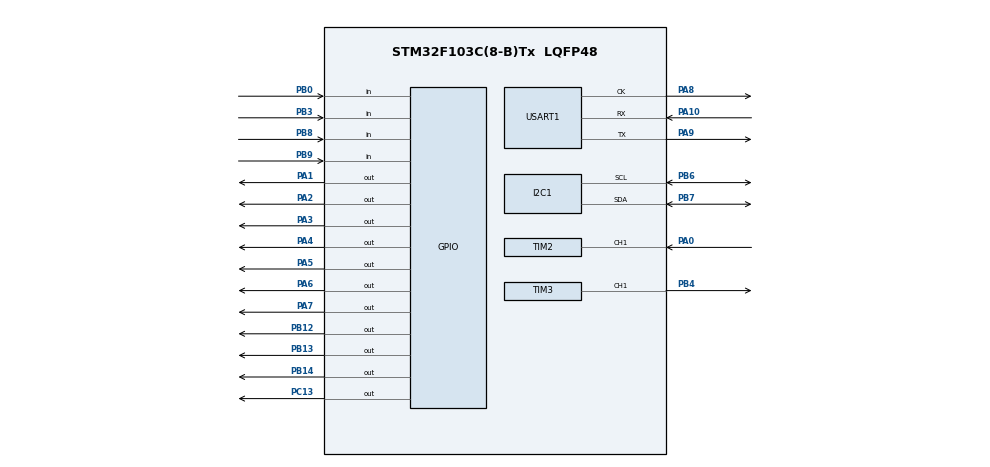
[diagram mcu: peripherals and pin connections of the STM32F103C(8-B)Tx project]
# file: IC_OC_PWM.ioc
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Mcu.Family=STM32F1
Mcu.Name=STM32F103C(8-B)Tx
Mcu.Package=LQFP48
NVIC.PriorityGroup=NVIC_PRIORITYGROUP_4
NVIC.TIM2_IRQn=true\:0\:0\:false\:false\:true\:true\:true\:true
NVIC.TIM3_IRQn=true\:0\:0\:false\:false\:true\:true\:true\:true
PA0-WKUP.Signal=S_TIM2_CH1_ETR
PA1.GPIO_PuPd=GPIO_PULLDOWN
PA1.Signal=GPIO_Output
PA10.Mode=Synchronous
PA10.Signal=USART1_RX
PA13.Mode=Serial_Wire
PA13.Signal=SYS_JTMS-SWDIO
PA14.Mode=Serial_Wire
PA14.Signal=SYS_JTCK-SWCLK
PA2.GPIO_PuPd=GPIO_PULLDOWN
PA2.Signal=GPIO_Output
PA3.GPIO_PuPd=GPIO_PULLDOWN
PA3.Signal=GPIO_Output
PA4.GPIO_PuPd=GPIO_PULLDOWN
PA4.Signal=GPIO_Output
PA5.GPIO_PuPd=GPIO_PULLDOWN
PA5.Signal=GPIO_Output
PA6.GPIO_PuPd=GPIO_PULLDOWN
PA6.Signal=GPIO_Output
PA7.GPIO_PuPd=GPIO_PULLDOWN
PA7.Signal=GPIO_Output
PA8.Mode=Synchronous
PA8.Signal=USART1_CK
PA9.Mode=Synchronous
PA9.Signal=USART1_TX
PB0.GPIO_PuPd=GPIO_PULLDOWN
PB0.Signal=GPIO_Input
PB12.GPIO_PuPd=GPIO_PULLDOWN
PB12.Signal=GPIO_Output
PB13.Signal=GPIO_Output
PB14.Signal=GPIO_Output
PB3.GPIO_PuPd=GPIO_PULLDOWN
PB3.Signal=GPIO_Input
PB4.Signal=S_TIM3_CH1
PB6.Mode=I2C
PB6.Signal=I2C1_SCL
PB7.Mode=I2C
PB7.Signal=I2C1_SDA
PB8.Signal=GPIO_Input
PB9.Signal=GPIO_Input
PC13-TAMPER-RTC.Signal=GPIO_Output
PD0-OSC_IN.Mode=HSE-External-Oscillator
PD0-OSC_IN.Signal=RCC_OSC_IN
PD1-OSC_OUT.Mode=HSE-External-Oscillator
PD1-OSC_OUT.Signal=RCC_OSC_OUT
ProjectManager.HeapSize=0x200
ProjectManager.StackSize=0x400
ProjectManager.TargetToolchain=STM32CubeIDE
RCC.APB1Freq_Value=8000000
RCC.APB2Freq_Value=8000000
SH.S_TIM2_CH1_ETR.0=TIM2_CH1,Input_Capture1_from_TI1
SH.S_TIM3_CH1.0=TIM3_CH1,Output Compare1 CH1
TIM2.AutoReloadPreload=TIM_AUTORELOAD_PRELOAD_ENABLE
TIM2.Channel-Input_Capture1_from_TI1=TIM_CHANNEL_1
TIM2.Period=999
TIM2.Prescaler=8000
TIM3.AutoReloadPreload=TIM_AUTORELOAD_PRELOAD_ENABLE
TIM3.Channel-Output\ Compare1\ CH1=TIM_CHANNEL_1
TIM3.Period=1000
TIM3.Prescaler=8000
USART1.VirtualMode=VM_SYNC
VP_TIM2_VS_ClockSourceINT.Mode=Internal
VP_TIM3_VS_ClockSourceINT.Mode=Internal
board=custom

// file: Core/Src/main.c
/* USER CODE BEGIN Header */
/**
  ******************************************************************************
  * @file           : main.c
  * @brief          : Main program body
  ******************************************************************************
  * @attention
  *
  * Copyright (c) 2024 STMicroelectronics.
  * All rights reserved.
  *
  * This software is licensed under terms that can be found in the LICENSE file
  * in the root directory of this software component.
  * If no LICENSE file comes with this software, it is provided AS-IS.
  *
  ******************************************************************************
  */
/* USER CODE END Header */
#include "main.h"

/* USER CODE BEGIN PTD */
TIM_HandleTypeDef htim2;
TIM_HandleTypeDef htim3;
/* USER CODE END PTD */

I2C_HandleTypeDef hi2c1;

TIM_HandleTypeDef htim2;
TIM_HandleTypeDef htim3;

USART_HandleTypeDef husart1;

void SystemClock_Config(void);
static void MX_GPIO_Init(void);
static void MX_TIM2_Init(void);
static void MX_TIM3_Init(void);
static void MX_USART1_Init(void);
static void MX_I2C1_Init(void);
/* USER CODE BEGIN PFP */
uint16_t u16_Capturel;
uint16_t Set_time = 2500;
uint8_t time2;
/* USER CODE END PFP */

/* USER CODE BEGIN 0 */
void Print(uint8_t Val)
{
	if(Val == 0)
	{
		HAL_GPIO_WritePin(GPIOA, GPIO_PIN_1, GPIO_PIN_SET);
		HAL_GPIO_WritePin(GPIOA, GPIO_PIN_2, GPIO_PIN_SET);
		HAL_GPIO_WritePin(GPIOA, GPIO_PIN_3, GPIO_PIN_SET);
		HAL_GPIO_WritePin(GPIOA, GPIO_PIN_4, GPIO_PIN_SET);
		HAL_GPIO_WritePin(GPIOA, GPIO_PIN_5, GPIO_PIN_SET);
		HAL_GPIO_WritePin(GPIOA, GPIO_PIN_6, GPIO_PIN_SET);
		HAL_GPIO_WritePin(GPIOA, GPIO_PIN_7, GPIO_PIN_RESET);
	}
  else if(Val == 1)
  {
		HAL_GPIO_WritePin(GPIOA, GPIO_PIN_1, GPIO_PIN_RESET);
		HAL_GPIO_WritePin(GPIOA, GPIO_PIN_2, GPIO_PIN_SET);
		HAL_GPIO_WritePin(GPIOA, GPIO_PIN_3, GPIO_PIN_SET);
		HAL_GPIO_WritePin(GPIOA, GPIO_PIN_4, GPIO_PIN_RESET);
		HAL_GPIO_WritePin(GPIOA, GPIO_PIN_5, GPIO_PIN_RESET);
		HAL_GPIO_WritePin(GPIOA, GPIO_PIN_6, GPIO_PIN_RESET);
		HAL_GPIO_WritePin(GPIOA, GPIO_PIN_7, GPIO_PIN_RESET);
  }
  else if(Val == 2)
  {
		HAL_GPIO_WritePin(GPIOA, GPIO_PIN_1, GPIO_PIN_SET);
		HAL_GPIO_WritePin(GPIOA, GPIO_PIN_2, GPIO_PIN_SET);
		HAL_GPIO_WritePin(GPIOA, GPIO_PIN_3, GPIO_PIN_RESET);
		HAL_GPIO_WritePin(GPIOA, GPIO_PIN_4, GPIO_PIN_SET);
		HAL_GPIO_WritePin(GPIOA, GPIO_PIN_5, GPIO_PIN_SET);
		HAL_GPIO_WritePin(GPIOA, GPIO_PIN_6, GPIO_PIN_RESET);
		HAL_GPIO_WritePin(GPIOA, GPIO_PIN_7, GPIO_PIN_SET);
  }
  else if(Val == 3)
  {
		HAL_GPIO_WritePin(GPIOA, GPIO_PIN_1, GPIO_PIN_SET);
		HAL_GPIO_WritePin(GPIOA, GPIO_PIN_2, GPIO_PIN_SET);
		HAL_GPIO_WritePin(GPIOA, GPIO_PIN_3, GPIO_PIN_SET);
		HAL_GPIO_WritePin(GPIOA, GPIO_PIN_4, GPIO_PIN_SET);
		HAL_GPIO_WritePin(GPIOA, GPIO_PIN_5, GPIO_PIN_RESET);
		HAL_GPIO_WritePin(GPIOA, GPIO_PIN_6, GPIO_PIN_RESET);
		HAL_GPIO_WritePin(GPIOA, GPIO_PIN_7, GPIO_PIN_SET);
  }
  else if(Val == 4)
  {
		HAL_GPIO_WritePin(GPIOA, GPIO_PIN_1, GPIO_PIN_RESET);
		HAL_GPIO_WritePin(GPIOA, GPIO_PIN_2, GPIO_PIN_SET);
		HAL_GPIO_WritePin(GPIOA, GPIO_PIN_3, GPIO_PIN_SET);
		HAL_GPIO_WritePin(GPIOA, GPIO_PIN_4, GPIO_PIN_RESET);
		HAL_GPIO_WritePin(GPIOA, GPIO_PIN_5, GPIO_PIN_RESET);
		HAL_GPIO_WritePin(GPIOA, GPIO_PIN_6, GPIO_PIN_SET);
		HAL_GPIO_WritePin(GPIOA, GPIO_PIN_7, GPIO_PIN_SET);
  }
  else if(Val == 5)
  {
		HAL_GPIO_WritePin(GPIOA, GPIO_PIN_1, GPIO_PIN_SET);
		HAL_GPIO_WritePin(GPIOA, GPIO_PIN_2, GPIO_PIN_RESET);
		HAL_GPIO_WritePin(GPIOA, GPIO_PIN_3, GPIO_PIN_SET);
		HAL_GPIO_WritePin(GPIOA, GPIO_PIN_4, GPIO_PIN_SET);
		HAL_GPIO_WritePin(GPIOA, GPIO_PIN_5, GPIO_PIN_RESET);
		HAL_GPIO_WritePin(GPIOA, GPIO_PIN_6, GPIO_PIN_SET);
		HAL_GPIO_WritePin(GPIOA, GPIO_PIN_7, GPIO_PIN_SET);
  }
  else if(Val == 6)
  {
		HAL_GPIO_WritePin(GPIOA, GPIO_PIN_1, GPIO_PIN_SET);
		HAL_GPIO_WritePin(GPIOA, GPIO_PIN_2, GPIO_PIN_RESET);
		HAL_GPIO_WritePin(GPIOA, GPIO_PIN_3, GPIO_PIN_SET);
		HAL_GPIO_WritePin(GPIOA, GPIO_PIN_4, GPIO_PIN_SET);
		HAL_GPIO_WritePin(GPIOA, GPIO_PIN_5, GPIO_PIN_SET);
		HAL_GPIO_WritePin(GPIOA, GPIO_PIN_6, GPIO_PIN_SET);
		HAL_GPIO_WritePin(GPIOA, GPIO_PIN_7, GPIO_PIN_SET);
  }
  else if(Val == 7)
  {
		HAL_GPIO_WritePin(GPIOA, GPIO_PIN_1, GPIO_PIN_SET);
		HAL_GPIO_WritePin(GPIOA, GPIO_PIN_2, GPIO_PIN_SET);
		HAL_GPIO_WritePin(GPIOA, GPIO_PIN_3, GPIO_PIN_SET);
		HAL_GPIO_WritePin(GPIOA, GPIO_PIN_4, GPIO_PIN_RESET);
		HAL_GPIO_WritePin(GPIOA, GPIO_PIN_5, GPIO_PIN_RESET);
		HAL_GPIO_WritePin(GPIOA, GPIO_PIN_6, GPIO_PIN_RESET);
		HAL_GPIO_WritePin(GPIOA, GPIO_PIN_7, GPIO_PIN_RESET);
  }
  else if(Val == 8)
  {
		HAL_GPIO_WritePin(GPIOA, GPIO_PIN_1, GPIO_PIN_SET);
		HAL_GPIO_WritePin(GPIOA, GPIO_PIN_2, GPIO_PIN_SET);
		HAL_GPIO_WritePin(GPIOA, GPIO_PIN_3, GPIO_PIN_SET);
		HAL_GPIO_WritePin(GPIOA, GPIO_PIN_4, GPIO_PIN_SET);
		HAL_GPIO_WritePin(GPIOA, GPIO_PIN_5, GPIO_PIN_SET);
		HAL_GPIO_WritePin(GPIOA, GPIO_PIN_6, GPIO_PIN_SET);
		HAL_GPIO_WritePin(GPIOA, GPIO_PIN_7, GPIO_PIN_SET);
  }
  else if(Val == 9)
  {
		HAL_GPIO_WritePin(GPIOA, GPIO_PIN_1, GPIO_PIN_SET);
		HAL_GPIO_WritePin(GPIOA, GPIO_PIN_2, GPIO_PIN_SET);
		HAL_GPIO_WritePin(GPIOA, GPIO_PIN_3, GPIO_PIN_SET);
		HAL_GPIO_WritePin(GPIOA, GPIO_PIN_4, GPIO_PIN_SET);
		HAL_GPIO_WritePin(GPIOA, GPIO_PIN_5, GPIO_PIN_RESET);
		HAL_GPIO_WritePin(GPIOA, GPIO_PIN_6, GPIO_PIN_SET);
		HAL_GPIO_WritePin(GPIOA, GPIO_PIN_7, GPIO_PIN_SET);
  }
}
void HAL_TIM_IC_CaptureCallback(TIM_HandleTypeDef *htim)
{
  /* Prevent unused argument(s) compilation warning */
  UNUSED(htim);
if(htim->Instance == TIM2)
{
	HAL_GPIO_WritePin(GPIOC, GPIO_PIN_13, GPIO_PIN_RESET);
	u16_Capturel = HAL_TIM_ReadCapturedValue(&htim2, TIM_CHANNEL_1);
	__HAL_TIM_SET_COUNTER(&htim2,0);
	if (u16_Capturel < 1000) {
	    time2 = 1;  // Hiển thị 1 thay vì 0
	} else {
	    time2 = u16_Capturel / 1000;
	};
	u16_Capturel = 0;
	Print(time2);
}
  /* NOTE : This function should not be modified, when the callback is needed,
            the HAL_TIM_IC_CaptureCallback could be implemented in the user file
   */
}
void HAL_TIM_OC_DelayElapsedCallback(TIM_HandleTypeDef *htim)
{
//    if (htim->Instance == TIM3)
//    {
//    	HAL_GPIO_TogglePin(GPIOB, GPIO_PIN_4);
//    }
}

/* USER CODE END 0 */

int main(void)
{

  /* MCU Configuration--------------------------------------------------------*/

  /* Reset of all peripherals, Initializes the Flash interface and the Systick. */
  HAL_Init();

  /* Configure the system clock */
  SystemClock_Config();

  /* Initialize all configured peripherals */
  MX_GPIO_Init();
  MX_TIM2_Init();
  MX_TIM3_Init();
  MX_USART1_Init();
  MX_I2C1_Init();
  /* USER CODE BEGIN 2 */
  //HAL_GPIO_WritePin(GPIOB, GPIO_PIN_12, RESET);
  //HAL_GPIO_WritePin(GPIOB, GPIO_PIN_4, RESET);
  //Print(5);
  /* USER CODE END 2 */

  /* Infinite loop */
  /* USER CODE BEGIN WHILE */
  //HAL_TIM_IC_Start_IT(&htim2, TIM_CHANNEL_1);	// Bat IC che do ngat
  //HAL_TIM_OC_Start_IT(&htim3, TIM_CHANNEL_1);	// Bat OC co ngat
  HAL_TIM_Base_Start(&htim2);
  HAL_TIM_Base_Start(&htim3);
  HAL_GPIO_WritePin(GPIOC, GPIO_PIN_13, GPIO_PIN_SET);

  while (1)
  {
    /* USER CODE END WHILE */

    /* USER CODE BEGIN 3 */
	  //  chỗ này test xem counter chạy ko, thì thấy vẫn chạy bt
	  if(HAL_GPIO_ReadPin(GPIOB, GPIO_PIN_3) == GPIO_PIN_SET)
	  	  {
		  	  HAL_GPIO_WritePin(GPIOC, GPIO_PIN_13, GPIO_PIN_RESET);
	  		  HAL_TIM_OC_Start(&htim3, TIM_CHANNEL_1);	// Bat OC co ngat
	  	  }

	  //
	  if(HAL_GPIO_ReadPin(GPIOB, GPIO_PIN_0) == GPIO_PIN_SET)
	  	  	  {
	  	  		  HAL_TIM_IC_Start_IT(&htim2, TIM_CHANNEL_1);	// Bat IC co ngat
	  	  		//  HAL_GPIO_WritePin(GPIOC, GPIO_PIN_13, GPIO_PIN_RESET);
	  	  	  }
	  else if(HAL_GPIO_ReadPin(GPIOB, GPIO_PIN_0) == GPIO_PIN_RESET || HAL_GPIO_ReadPin(GPIOB, GPIO_PIN_3) == GPIO_PIN_RESET)
	  	  	  {
	  	  		  HAL_TIM_IC_Stop(&htim2, TIM_CHANNEL_1);	// ngat IC
	  	  		  HAL_TIM_OC_Stop(&htim3, TIM_CHANNEL_1);	// ngat OC
	  	  	  }

	  	  if(__HAL_TIM_GET_COUNTER(&htim3) >= 500 )
	  	    {
	  	  	  HAL_GPIO_WritePin(GPIOB, GPIO_PIN_12, GPIO_PIN_SET);
	  	    }
	  	    else
	  	  	{
	  	  	  HAL_GPIO_WritePin(GPIOB, GPIO_PIN_12, GPIO_PIN_RESET);
	  	  	}
	  	if(__HAL_TIM_GET_COUNTER(&htim2) >= 500 )
	  		  	    {
	  		  	  	  HAL_GPIO_WritePin(GPIOB, GPIO_PIN_12, GPIO_PIN_SET);
	  		  	    }
	  		  	    else
	  		  	  	{
	  		  	  	  HAL_GPIO_WritePin(GPIOB, GPIO_PIN_12, GPIO_PIN_RESET);
	  		  	  	}
  }
  /* USER CODE END 3 */
}

void SystemClock_Config(void)
{
  RCC_OscInitTypeDef RCC_OscInitStruct = {0};
  RCC_ClkInitTypeDef RCC_ClkInitStruct = {0};

  /** Initializes the RCC Oscillators according to the specified parameters
  * in the RCC_OscInitTypeDef structure.
  */
  RCC_OscInitStruct.OscillatorType = RCC_OSCILLATORTYPE_HSI;
  RCC_OscInitStruct.HSIState = RCC_HSI_ON;
  RCC_OscInitStruct.HSICalibrationValue = RCC_HSICALIBRATION_DEFAULT;
  RCC_OscInitStruct.PLL.PLLState = RCC_PLL_NONE;
  if (HAL_RCC_OscConfig(&RCC_OscInitStruct) != HAL_OK)
  {
    Error_Handler();
  }

  /** Initializes the CPU, AHB and APB buses clocks
  */
  RCC_ClkInitStruct.ClockType = RCC_CLOCKTYPE_HCLK|RCC_CLOCKTYPE_SYSCLK
                              |RCC_CLOCKTYPE_PCLK1|RCC_CLOCKTYPE_PCLK2;
  RCC_ClkInitStruct.SYSCLKSource = RCC_SYSCLKSOURCE_HSI;
  RCC_ClkInitStruct.AHBCLKDivider = RCC_SYSCLK_DIV1;
  RCC_ClkInitStruct.APB1CLKDivider = RCC_HCLK_DIV1;
  RCC_ClkInitStruct.APB2CLKDivider = RCC_HCLK_DIV1;

  if (HAL_RCC_ClockConfig(&RCC_ClkInitStruct, FLASH_LATENCY_0) != HAL_OK)
  {
    Error_Handler();
  }
}

static void MX_I2C1_Init(void)
{

  hi2c1.Instance = I2C1;
  hi2c1.Init.ClockSpeed = 100000;
  hi2c1.Init.DutyCycle = I2C_DUTYCYCLE_2;
  hi2c1.Init.OwnAddress1 = 0;
  hi2c1.Init.AddressingMode = I2C_ADDRESSINGMODE_7BIT;
  hi2c1.Init.DualAddressMode = I2C_DUALADDRESS_DISABLE;
  hi2c1.Init.OwnAddress2 = 0;
  hi2c1.Init.GeneralCallMode = I2C_GENERALCALL_DISABLE;
  hi2c1.Init.NoStretchMode = I2C_NOSTRETCH_DISABLE;
  if (HAL_I2C_Init(&hi2c1) != HAL_OK)
  {
    Error_Handler();
  }

}

static void MX_TIM2_Init(void)
{

  TIM_ClockConfigTypeDef sClockSourceConfig = {0};
  TIM_MasterConfigTypeDef sMasterConfig = {0};
  TIM_IC_InitTypeDef sConfigIC = {0};

  htim2.Instance = TIM2;
  htim2.Init.Prescaler = 8000;
  htim2.Init.CounterMode = TIM_COUNTERMODE_UP;
  htim2.Init.Period = 7000;
  htim2.Init.ClockDivision = TIM_CLOCKDIVISION_DIV1;
  htim2.Init.AutoReloadPreload = TIM_AUTORELOAD_PRELOAD_ENABLE;
  if (HAL_TIM_Base_Init(&htim2) != HAL_OK)
  {
    Error_Handler();
  }
  sClockSourceConfig.ClockSource = TIM_CLOCKSOURCE_INTERNAL;
  if (HAL_TIM_ConfigClockSource(&htim2, &sClockSourceConfig) != HAL_OK)
  {
    Error_Handler();
  }
  if (HAL_TIM_IC_Init(&htim2) != HAL_OK)
  {
    Error_Handler();
  }
  sMasterConfig.MasterOutputTrigger = TIM_TRGO_RESET;
  sMasterConfig.MasterSlaveMode = TIM_MASTERSLAVEMODE_DISABLE;
  if (HAL_TIMEx_MasterConfigSynchronization(&htim2, &sMasterConfig) != HAL_OK)
  {
    Error_Handler();
  }
  sConfigIC.ICPolarity = TIM_INPUTCHANNELPOLARITY_RISING;
  sConfigIC.ICSelection = TIM_ICSELECTION_DIRECTTI;
  sConfigIC.ICPrescaler = TIM_ICPSC_DIV1;
  sConfigIC.ICFilter = 0;
  if (HAL_TIM_IC_ConfigChannel(&htim2, &sConfigIC, TIM_CHANNEL_1) != HAL_OK)
  {
    Error_Handler();
  }

}

static void MX_TIM3_Init(void)
{

  TIM_ClockConfigTypeDef sClockSourceConfig = {0};
  TIM_MasterConfigTypeDef sMasterConfig = {0};
  TIM_OC_InitTypeDef sConfigOC = {0};

  htim3.Instance = TIM3;
  htim3.Init.Prescaler = 8000;
  htim3.Init.CounterMode = TIM_COUNTERMODE_UP;
  htim3.Init.Period = 1000;
  htim3.Init.ClockDivision = TIM_CLOCKDIVISION_DIV1;
  htim3.Init.AutoReloadPreload = TIM_AUTORELOAD_PRELOAD_ENABLE;
  if (HAL_TIM_Base_Init(&htim3) != HAL_OK)
  {
    Error_Handler();
  }
  sClockSourceConfig.ClockSource = TIM_CLOCKSOURCE_INTERNAL;
  if (HAL_TIM_ConfigClockSource(&htim3, &sClockSourceConfig) != HAL_OK)
  {
    Error_Handler();
  }
  if (HAL_TIM_OC_Init(&htim3) != HAL_OK)
  {
    Error_Handler();
  }
  sMasterConfig.MasterOutputTrigger = TIM_TRGO_RESET;
  sMasterConfig.MasterSlaveMode = TIM_MASTERSLAVEMODE_DISABLE;
  if (HAL_TIMEx_MasterConfigSynchronization(&htim3, &sMasterConfig) != HAL_OK)
  {
    Error_Handler();
  }
  sConfigOC.OCMode = TIM_OCMODE_TIMING;
  sConfigOC.Pulse = 0;
  sConfigOC.OCPolarity = TIM_OCPOLARITY_HIGH;
  sConfigOC.OCFastMode = TIM_OCFAST_DISABLE;
  if (HAL_TIM_OC_ConfigChannel(&htim3, &sConfigOC, TIM_CHANNEL_1) != HAL_OK)
  {
    Error_Handler();
  }
  HAL_TIM_MspPostInit(&htim3);

}

static void MX_USART1_Init(void)
{

  husart1.Instance = USART1;
  husart1.Init.BaudRate = 115200;
  husart1.Init.WordLength = USART_WORDLENGTH_8B;
  husart1.Init.StopBits = USART_STOPBITS_1;
  husart1.Init.Parity = USART_PARITY_NONE;
  husart1.Init.Mode = USART_MODE_TX_RX;
  husart1.Init.CLKPolarity = USART_POLARITY_LOW;
  husart1.Init.CLKPhase = USART_PHASE_1EDGE;
  husart1.Init.CLKLastBit = USART_LASTBIT_DISABLE;
  if (HAL_USART_Init(&husart1) != HAL_OK)
  {
    Error_Handler();
  }

}

static void MX_GPIO_Init(void)
{
  GPIO_InitTypeDef GPIO_InitStruct = {0};

  /* GPIO Ports Clock Enable */
  __HAL_RCC_GPIOC_CLK_ENABLE();
  __HAL_RCC_GPIOD_CLK_ENABLE();
  __HAL_RCC_GPIOA_CLK_ENABLE();
  __HAL_RCC_GPIOB_CLK_ENABLE();

  /*Configure GPIO pin Output Level */
  HAL_GPIO_WritePin(GPIOC, GPIO_PIN_13, GPIO_PIN_RESET);

  /*Configure GPIO pin Output Level */
  HAL_GPIO_WritePin(GPIOA, GPIO_PIN_1|GPIO_PIN_2|GPIO_PIN_3|GPIO_PIN_4
                          |GPIO_PIN_5|GPIO_PIN_6|GPIO_PIN_7, GPIO_PIN_RESET);

  /*Configure GPIO pin Output Level */
  HAL_GPIO_WritePin(GPIOB, GPIO_PIN_12|GPIO_PIN_13|GPIO_PIN_14, GPIO_PIN_RESET);

  /*Configure GPIO pin : PC13 */
  GPIO_InitStruct.Pin = GPIO_PIN_13;
  GPIO_InitStruct.Mode = GPIO_MODE_OUTPUT_PP;
  GPIO_InitStruct.Pull = GPIO_NOPULL;
  GPIO_InitStruct.Speed = GPIO_SPEED_FREQ_LOW;
  HAL_GPIO_Init(GPIOC, &GPIO_InitStruct);

  /*Configure GPIO pins : PA1 PA2 PA3 PA4
                           PA5 PA6 PA7 */
  GPIO_InitStruct.Pin = GPIO_PIN_1|GPIO_PIN_2|GPIO_PIN_3|GPIO_PIN_4
                          |GPIO_PIN_5|GPIO_PIN_6|GPIO_PIN_7;
  GPIO_InitStruct.Mode = GPIO_MODE_OUTPUT_PP;
  GPIO_InitStruct.Pull = GPIO_PULLDOWN;
  GPIO_InitStruct.Speed = GPIO_SPEED_FREQ_LOW;
  HAL_GPIO_Init(GPIOA, &GPIO_InitStruct);

  /*Configure GPIO pins : PB0 PB3 */
  GPIO_InitStruct.Pin = GPIO_PIN_0|GPIO_PIN_3;
  GPIO_InitStruct.Mode = GPIO_MODE_INPUT;
  GPIO_InitStruct.Pull = GPIO_PULLDOWN;
  HAL_GPIO_Init(GPIOB, &GPIO_InitStruct);

  /*Configure GPIO pin : PB12 */
  GPIO_InitStruct.Pin = GPIO_PIN_12;
  GPIO_InitStruct.Mode = GPIO_MODE_OUTPUT_PP;
  GPIO_InitStruct.Pull = GPIO_PULLDOWN;
  GPIO_InitStruct.Speed = GPIO_SPEED_FREQ_LOW;
  HAL_GPIO_Init(GPIOB, &GPIO_InitStruct);

  /*Configure GPIO pins : PB13 PB14 */
  GPIO_InitStruct.Pin = GPIO_PIN_13|GPIO_PIN_14;
  GPIO_InitStruct.Mode = GPIO_MODE_OUTPUT_PP;
  GPIO_InitStruct.Pull = GPIO_NOPULL;
  GPIO_InitStruct.Speed = GPIO_SPEED_FREQ_LOW;
  HAL_GPIO_Init(GPIOB, &GPIO_InitStruct);

  /*Configure GPIO pins : PB8 PB9 */
  GPIO_InitStruct.Pin = GPIO_PIN_8|GPIO_PIN_9;
  GPIO_InitStruct.Mode = GPIO_MODE_INPUT;
  GPIO_InitStruct.Pull = GPIO_NOPULL;
  HAL_GPIO_Init(GPIOB, &GPIO_InitStruct);

}

void Error_Handler(void)
{
  __disable_irq();
  while (1)
  {
  }
}
